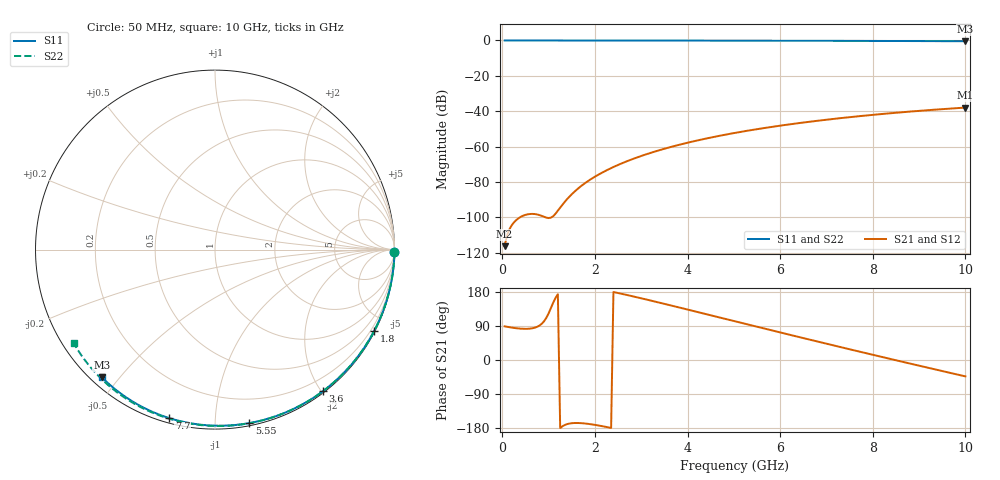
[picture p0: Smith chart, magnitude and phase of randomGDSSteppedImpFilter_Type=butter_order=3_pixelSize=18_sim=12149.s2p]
! freq	dB(S11)	phase(S11)	dB(S12)	phase(S12)
!  dB(S21)	phase(S21)	dB(S22)	phase(S22)
!S-par simulation data
#  GHz  S  DB  R 50
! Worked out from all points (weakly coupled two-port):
!   200 points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, 50 MHz to 10 GHz, reference 50 ohm
!   highest |S21| = -37.99 dB at 10 GHz (marker M1); lowest = -116.4 dB at 50 MHz (marker M2)
!   lowest |S11| = -0.4 dB at 10 GHz (marker M3), VSWR 39.19, Z = 1.53 - j22.5 ohm
!   |S11| at or under -10 dB: nowhere
!   |S22| runs from -0.5 to 0.0 dB; largest |S21 - S12| = 0
!   S11 on the Smith chart (normalised r, x): 50 MHz: open; 1.8 GHz: 0.04, -4.17; 3.6 GHz: 0.02, -2.02; 5.55 GHz: 0.02, -1.22; 7.7 GHz: 0.02, -0.76; 10 GHz: 0.03, -0.45
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0.05  -0.00 -0.8  -116.39 88.8  -116.39 88.8  -0.00 -0.9
0.45  -0.01 -6.8  -99.15 82.3  -99.15 82.3  -0.01 -7.7
0.9  -0.02 -13.6  -99.75 101.9  -99.75 101.9  -0.02 -15.2
1.3  -0.02 -19.6  -92.88 -174.7  -92.88 -174.7  -0.03 -21.9
1.75  -0.03 -26.2  -81.43 -167.1  -81.43 -167.1  -0.04 -29.3
1.8  -0.03 -27.0  -80.47 -167.7  -80.47 -167.7  -0.04 -30.2
1.85  -0.04 -27.7  -79.57 -168.5  -79.57 -168.5  -0.04 -31.0
2.05  -0.04 -30.6  -76.30 -172.2  -76.30 -172.2  -0.04 -34.3
2.2  -0.04 -32.8  -74.17 -175.6  -74.17 -175.6  -0.05 -36.7
2.55  -0.05 -37.9  -69.86 175.5  -69.86 175.5  -0.05 -42.3
2.95  -0.06 -43.6  -65.81 164.3  -65.81 164.3  -0.06 -48.7
3.4  -0.07 -50.0  -62.03 151.1  -62.03 151.1  -0.07 -55.7
3.6  -0.07 -52.7  -60.54 145.2  -60.54 145.2  -0.08 -58.8
4.3  -0.09 -62.3  -56.06 124.1  -56.06 124.1  -0.10 -69.4
5.05  -0.11 -72.3  -52.18 101.4  -52.18 101.4  -0.12 -80.4
5.55  -0.13 -78.8  -49.98 86.3  -49.98 86.3  -0.14 -87.6
6.1  -0.15 -85.8  -47.84 69.7  -47.84 69.7  -0.17 -95.2
6.7  -0.18 -93.2  -45.78 51.9  -45.78 51.9  -0.20 -103.4
7.7  -0.24 -105.2  -42.86 22.5  -42.86 22.5  -0.27 -116.7
8.35  -0.29 -112.8  -41.25 3.6  -41.25 3.6  -0.32 -125.2
9.2  -0.36 -122.5  -39.43 -20.7  -39.43 -20.7  -0.40 -136.2
10  -0.44 -131.6  -37.99 -43.2  -37.99 -43.2  -0.50 -146.5
